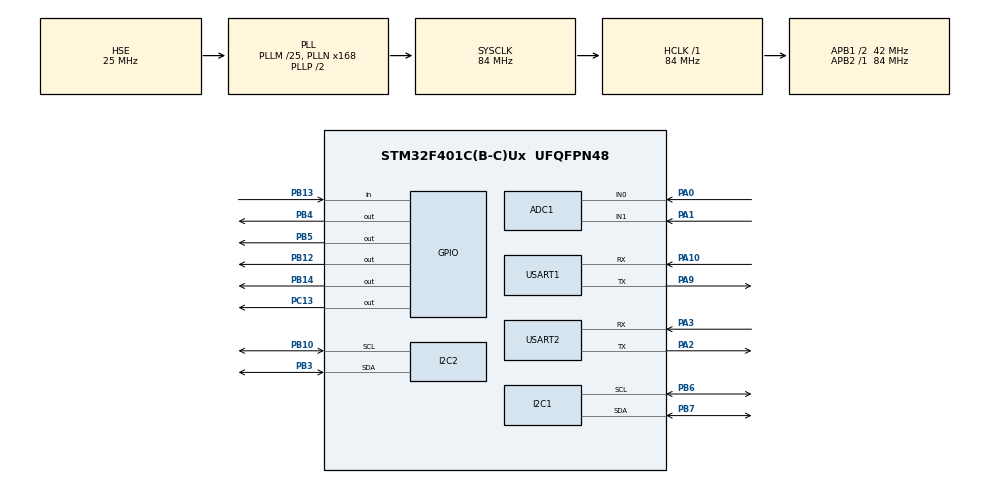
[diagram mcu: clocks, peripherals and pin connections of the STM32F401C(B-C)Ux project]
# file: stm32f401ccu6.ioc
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ADC1.Channel-0\#ChannelRegularConversion=ADC_CHANNEL_0
ADC1.NbrOfConversionFlag=1
ADC1.Rank-0\#ChannelRegularConversion=1
ADC1.SamplingTime-0\#ChannelRegularConversion=ADC_SAMPLETIME_3CYCLES
ADC1.master=1
Dma.Request0=USART2_RX
Dma.Request1=USART2_TX
Dma.USART2_RX.0.Direction=DMA_PERIPH_TO_MEMORY
Dma.USART2_RX.0.FIFOMode=DMA_FIFOMODE_DISABLE
Dma.USART2_RX.0.Instance=DMA1_Stream5
Dma.USART2_RX.0.MemDataAlignment=DMA_MDATAALIGN_BYTE
Dma.USART2_RX.0.MemInc=DMA_MINC_ENABLE
Dma.USART2_RX.0.Mode=DMA_CIRCULAR
Dma.USART2_RX.0.PeriphDataAlignment=DMA_PDATAALIGN_BYTE
Dma.USART2_RX.0.PeriphInc=DMA_PINC_DISABLE
Dma.USART2_RX.0.Priority=DMA_PRIORITY_VERY_HIGH
Dma.USART2_TX.1.Direction=DMA_MEMORY_TO_PERIPH
Dma.USART2_TX.1.FIFOMode=DMA_FIFOMODE_DISABLE
Dma.USART2_TX.1.Instance=DMA1_Stream6
Dma.USART2_TX.1.MemDataAlignment=DMA_MDATAALIGN_BYTE
Dma.USART2_TX.1.MemInc=DMA_MINC_ENABLE
Dma.USART2_TX.1.Mode=DMA_NORMAL
Dma.USART2_TX.1.PeriphDataAlignment=DMA_PDATAALIGN_BYTE
Dma.USART2_TX.1.PeriphInc=DMA_PINC_DISABLE
Dma.USART2_TX.1.Priority=DMA_PRIORITY_VERY_HIGH
FREERTOS.Tasks01=defaultTask,40,3000,StartDefaultTask,Default,NULL,Dynamic,NULL,NULL;extraTask,24,128,StartExtraTask,Default,NULL,Dynamic,NULL,NULL
I2C1.I2C_Mode=I2C_Fast
I2C2.I2C_Mode=I2C_Fast
Mcu.Family=STM32F4
Mcu.Name=STM32F401C(B-C)Ux
Mcu.Package=UFQFPN48
NVIC.DMA1_Stream5_IRQn=true\:5\:0\:false\:false\:true\:true\:false\:true\:true
NVIC.DMA1_Stream6_IRQn=true\:5\:0\:false\:false\:true\:true\:false\:true\:true
NVIC.PriorityGroup=NVIC_PRIORITYGROUP_4
NVIC.USART2_IRQn=true\:5\:0\:false\:false\:true\:true\:true\:true\:true
PA0-WKUP.Signal=ADCx_IN0
PA1.Signal=ADCx_IN1
PA10.Mode=Asynchronous
PA10.Signal=USART1_RX
PA2.Mode=Asynchronous
PA2.Signal=USART2_TX
PA3.Mode=Asynchronous
PA3.Signal=USART2_RX
PA9.Mode=Asynchronous
PA9.Signal=USART1_TX
PB10.Mode=I2C
PB10.Signal=I2C2_SCL
PB12.Signal=GPIO_Output
PB13.Signal=GPIO_Input
PB14.Signal=GPIO_Output
PB3.Mode=I2C
PB3.Signal=I2C2_SDA
PB4.Signal=GPIO_Output
PB5.Signal=GPIO_Output
PB6.Mode=I2C
PB6.Signal=I2C1_SCL
PB7.Mode=I2C
PB7.Signal=I2C1_SDA
PC13-ANTI_TAMP.Signal=GPIO_Output
PC14-OSC32_IN.Mode=LSE-External-Oscillator
PC14-OSC32_IN.Signal=RCC_OSC32_IN
PC15-OSC32_OUT.Mode=LSE-External-Oscillator
PC15-OSC32_OUT.Signal=RCC_OSC32_OUT
PH0\ -\ OSC_IN.Mode=HSE-External-Oscillator
PH0\ -\ OSC_IN.Signal=RCC_OSC_IN
PH1\ -\ OSC_OUT.Mode=HSE-External-Oscillator
PH1\ -\ OSC_OUT.Signal=RCC_OSC_OUT
ProjectManager.HeapSize=0x200
ProjectManager.StackSize=0x400
ProjectManager.TargetToolchain=STM32CubeIDE
RCC.48MHZClocksFreq_Value=42000000
RCC.AHBFreq_Value=84000000
RCC.APB1CLKDivider=RCC_HCLK_DIV2
RCC.APB1Freq_Value=42000000
RCC.APB1TimFreq_Value=84000000
RCC.APB2Freq_Value=84000000
RCC.APB2TimFreq_Value=84000000
RCC.CortexFreq_Value=84000000
RCC.HCLKFreq_Value=84000000
RCC.HSE_VALUE=25000000
RCC.HSI_VALUE=16000000
RCC.PLLM=25
RCC.PLLN=168
RCC.PLLSourceVirtual=RCC_PLLSOURCE_HSE
RCC.SYSCLKFreq_VALUE=84000000
RCC.SYSCLKSource=RCC_SYSCLKSOURCE_PLLCLK
RCC.VCOOutputFreq_Value=168000000
SH.ADCx_IN0.0=ADC1_IN0,IN0
SH.ADCx_IN1.0=ADC1_IN1,IN1
USART1.VirtualMode=VM_ASYNC
USART2.VirtualMode=VM_ASYNC
VP_FREERTOS_VS_CMSIS_V2.Mode=CMSIS_V2
board=custom

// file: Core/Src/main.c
/* USER CODE BEGIN Header */
/**
  ******************************************************************************
  * @file           : main.c
  * @brief          : Main program body
  ******************************************************************************
  * @attention
  *
  * Copyright (c) 2022 STMicroelectronics.
  * All rights reserved.
  *
  * This software is licensed under terms that can be found in the LICENSE file
  * in the root directory of this software component.
  * If no LICENSE file comes with this software, it is provided AS-IS.
  *
  ******************************************************************************
  */
/* USER CODE END Header */
#include "main.h"
#include "cmsis_os.h"

/* USER CODE BEGIN Includes */
#include <stdio.h>

#include <rcl/rcl.h>
#include <rcl/error_handling.h>
#include <rclc/rclc.h>
#include <rclc/executor.h>
#include <uxr/client/transport.h>
#include <rmw_microxrcedds_c/config.h>
#include <rmw_microros/rmw_microros.h>

#include <std_msgs/msg/int32.h>
/* USER CODE END Includes */

 ADC_HandleTypeDef hadc1;

I2C_HandleTypeDef hi2c1;
I2C_HandleTypeDef hi2c2;

UART_HandleTypeDef huart1;
UART_HandleTypeDef huart2;
DMA_HandleTypeDef hdma_usart2_rx;
DMA_HandleTypeDef hdma_usart2_tx;

/* Definitions for defaultTask */
osThreadId_t defaultTaskHandle;
const osThreadAttr_t defaultTask_attributes = {
  .name = "defaultTask",
  .stack_size = 3000 * 4,
  .priority = (osPriority_t) osPriorityHigh,
};
/* Definitions for extraTask */
osThreadId_t extraTaskHandle;
const osThreadAttr_t extraTask_attributes = {
  .name = "extraTask",
  .stack_size = 128 * 4,
  .priority = (osPriority_t) osPriorityNormal,
};

void SystemClock_Config(void);
static void MX_GPIO_Init(void);
static void MX_DMA_Init(void);
static void MX_I2C1_Init(void);
static void MX_I2C2_Init(void);
static void MX_USART1_UART_Init(void);
static void MX_USART2_UART_Init(void);
static void MX_ADC1_Init(void);
void StartDefaultTask(void *argument);
void StartExtraTask(void *argument);

/* USER CODE BEGIN 0 */
#ifdef __GNUC__
int __io_putchar(int ch)
{
   HAL_UART_Transmit(&huart1, (uint8_t *) &ch, 1, 0xFFFF);
   return ch;
}

// void __sync_synchronize()
// {
// }
#else
#endif
/* USER CODE END 0 */

int main(void)
{

  /* MCU Configuration--------------------------------------------------------*/

  /* Reset of all peripherals, Initializes the Flash interface and the Systick. */
  HAL_Init();

  /* Configure the system clock */
  SystemClock_Config();

  /* Initialize all configured peripherals */
  MX_GPIO_Init();
  MX_DMA_Init();
  MX_I2C1_Init();
  MX_I2C2_Init();
  MX_USART1_UART_Init();
  MX_USART2_UART_Init();
  MX_ADC1_Init();
  /* USER CODE BEGIN 2 */
   printf("=============================================== \r\n");
   printf("Build Date   : %s %s (%s) \r\n", __DATE__, __TIME__, __VERSION__);
   printf("System Clock : %d \r\n", (int) SystemCoreClock);
   printf("VERSION      : %x.%x \r\n", (int) FIRMWARE_MAJOR_VERSION, (int) FIRMWARE_MINOR_VERSION);
   printf("float        : %f \r\n", 3.142592);
   printf("=============================================== \r\n\r\n");
  /* USER CODE END 2 */

  /* Init scheduler */
  osKernelInitialize();

  /* Create the thread(s) */
  /* creation of defaultTask */
  defaultTaskHandle = osThreadNew(StartDefaultTask, NULL, &defaultTask_attributes);

  /* creation of extraTask */
  extraTaskHandle = osThreadNew(StartExtraTask, NULL, &extraTask_attributes);

  /* Start scheduler */
  osKernelStart();

  /* We should never get here as control is now taken by the scheduler */
  /* Infinite loop */
  while (1)
  {

  }
}

void SystemClock_Config(void)
{
  RCC_OscInitTypeDef RCC_OscInitStruct = {0};
  RCC_ClkInitTypeDef RCC_ClkInitStruct = {0};

  /** Configure the main internal regulator output voltage
  */
  __HAL_RCC_PWR_CLK_ENABLE();
  __HAL_PWR_VOLTAGESCALING_CONFIG(PWR_REGULATOR_VOLTAGE_SCALE2);

  /** Initializes the RCC Oscillators according to the specified parameters
  * in the RCC_OscInitTypeDef structure.
  */
  RCC_OscInitStruct.OscillatorType = RCC_OSCILLATORTYPE_HSE;
  RCC_OscInitStruct.HSEState = RCC_HSE_ON;
  RCC_OscInitStruct.PLL.PLLState = RCC_PLL_ON;
  RCC_OscInitStruct.PLL.PLLSource = RCC_PLLSOURCE_HSE;
  RCC_OscInitStruct.PLL.PLLM = 25;
  RCC_OscInitStruct.PLL.PLLN = 168;
  RCC_OscInitStruct.PLL.PLLP = RCC_PLLP_DIV2;
  RCC_OscInitStruct.PLL.PLLQ = 4;
  if (HAL_RCC_OscConfig(&RCC_OscInitStruct) != HAL_OK)
  {
    Error_Handler();
  }

  /** Initializes the CPU, AHB and APB buses clocks
  */
  RCC_ClkInitStruct.ClockType = RCC_CLOCKTYPE_HCLK|RCC_CLOCKTYPE_SYSCLK
                              |RCC_CLOCKTYPE_PCLK1|RCC_CLOCKTYPE_PCLK2;
  RCC_ClkInitStruct.SYSCLKSource = RCC_SYSCLKSOURCE_PLLCLK;
  RCC_ClkInitStruct.AHBCLKDivider = RCC_SYSCLK_DIV1;
  RCC_ClkInitStruct.APB1CLKDivider = RCC_HCLK_DIV2;
  RCC_ClkInitStruct.APB2CLKDivider = RCC_HCLK_DIV1;

  if (HAL_RCC_ClockConfig(&RCC_ClkInitStruct, FLASH_LATENCY_2) != HAL_OK)
  {
    Error_Handler();
  }
}

static void MX_ADC1_Init(void)
{

  ADC_ChannelConfTypeDef sConfig = {0};

  /** Configure the global features of the ADC (Clock, Resolution, Data Alignment and number of conversion)
  */
  hadc1.Instance = ADC1;
  hadc1.Init.ClockPrescaler = ADC_CLOCK_SYNC_PCLK_DIV4;
  hadc1.Init.Resolution = ADC_RESOLUTION_12B;
  hadc1.Init.ScanConvMode = DISABLE;
  hadc1.Init.ContinuousConvMode = DISABLE;
  hadc1.Init.DiscontinuousConvMode = DISABLE;
  hadc1.Init.ExternalTrigConvEdge = ADC_EXTERNALTRIGCONVEDGE_NONE;
  hadc1.Init.ExternalTrigConv = ADC_SOFTWARE_START;
  hadc1.Init.DataAlign = ADC_DATAALIGN_RIGHT;
  hadc1.Init.NbrOfConversion = 1;
  hadc1.Init.DMAContinuousRequests = DISABLE;
  hadc1.Init.EOCSelection = ADC_EOC_SINGLE_CONV;
  if (HAL_ADC_Init(&hadc1) != HAL_OK)
  {
    Error_Handler();
  }

  /** Configure for the selected ADC regular channel its corresponding rank in the sequencer and its sample time.
  */
  sConfig.Channel = ADC_CHANNEL_0;
  sConfig.Rank = 1;
  sConfig.SamplingTime = ADC_SAMPLETIME_3CYCLES;
  if (HAL_ADC_ConfigChannel(&hadc1, &sConfig) != HAL_OK)
  {
    Error_Handler();
  }

}

static void MX_I2C1_Init(void)
{

  hi2c1.Instance = I2C1;
  hi2c1.Init.ClockSpeed = 400000;
  hi2c1.Init.DutyCycle = I2C_DUTYCYCLE_2;
  hi2c1.Init.OwnAddress1 = 0;
  hi2c1.Init.AddressingMode = I2C_ADDRESSINGMODE_7BIT;
  hi2c1.Init.DualAddressMode = I2C_DUALADDRESS_DISABLE;
  hi2c1.Init.OwnAddress2 = 0;
  hi2c1.Init.GeneralCallMode = I2C_GENERALCALL_DISABLE;
  hi2c1.Init.NoStretchMode = I2C_NOSTRETCH_DISABLE;
  if (HAL_I2C_Init(&hi2c1) != HAL_OK)
  {
    Error_Handler();
  }

}

static void MX_I2C2_Init(void)
{

  hi2c2.Instance = I2C2;
  hi2c2.Init.ClockSpeed = 400000;
  hi2c2.Init.DutyCycle = I2C_DUTYCYCLE_2;
  hi2c2.Init.OwnAddress1 = 0;
  hi2c2.Init.AddressingMode = I2C_ADDRESSINGMODE_7BIT;
  hi2c2.Init.DualAddressMode = I2C_DUALADDRESS_DISABLE;
  hi2c2.Init.OwnAddress2 = 0;
  hi2c2.Init.GeneralCallMode = I2C_GENERALCALL_DISABLE;
  hi2c2.Init.NoStretchMode = I2C_NOSTRETCH_DISABLE;
  if (HAL_I2C_Init(&hi2c2) != HAL_OK)
  {
    Error_Handler();
  }

}

static void MX_USART1_UART_Init(void)
{

  huart1.Instance = USART1;
  huart1.Init.BaudRate = 115200;
  huart1.Init.WordLength = UART_WORDLENGTH_8B;
  huart1.Init.StopBits = UART_STOPBITS_1;
  huart1.Init.Parity = UART_PARITY_NONE;
  huart1.Init.Mode = UART_MODE_TX_RX;
  huart1.Init.HwFlowCtl = UART_HWCONTROL_NONE;
  huart1.Init.OverSampling = UART_OVERSAMPLING_16;
  if (HAL_UART_Init(&huart1) != HAL_OK)
  {
    Error_Handler();
  }

}

static void MX_USART2_UART_Init(void)
{

  huart2.Instance = USART2;
  huart2.Init.BaudRate = 115200;
  huart2.Init.WordLength = UART_WORDLENGTH_8B;
  huart2.Init.StopBits = UART_STOPBITS_1;
  huart2.Init.Parity = UART_PARITY_NONE;
  huart2.Init.Mode = UART_MODE_TX_RX;
  huart2.Init.HwFlowCtl = UART_HWCONTROL_NONE;
  huart2.Init.OverSampling = UART_OVERSAMPLING_16;
  if (HAL_UART_Init(&huart2) != HAL_OK)
  {
    Error_Handler();
  }

}

static void MX_DMA_Init(void)
{

  /* DMA controller clock enable */
  __HAL_RCC_DMA1_CLK_ENABLE();

  /* DMA interrupt init */
  /* DMA1_Stream5_IRQn interrupt configuration */
  HAL_NVIC_SetPriority(DMA1_Stream5_IRQn, 5, 0);
  HAL_NVIC_EnableIRQ(DMA1_Stream5_IRQn);
  /* DMA1_Stream6_IRQn interrupt configuration */
  HAL_NVIC_SetPriority(DMA1_Stream6_IRQn, 5, 0);
  HAL_NVIC_EnableIRQ(DMA1_Stream6_IRQn);

}

static void MX_GPIO_Init(void)
{
  GPIO_InitTypeDef GPIO_InitStruct = {0};

  /* GPIO Ports Clock Enable */
  __HAL_RCC_GPIOC_CLK_ENABLE();
  __HAL_RCC_GPIOH_CLK_ENABLE();
  __HAL_RCC_GPIOA_CLK_ENABLE();
  __HAL_RCC_GPIOB_CLK_ENABLE();

  /*Configure GPIO pin Output Level */
  HAL_GPIO_WritePin(GPIOC, GPIO_PIN_13, GPIO_PIN_RESET);

  /*Configure GPIO pin Output Level */
  HAL_GPIO_WritePin(GPIOB, GPIO_PIN_12|GPIO_PIN_14|GPIO_PIN_4|GPIO_PIN_5, GPIO_PIN_RESET);

  /*Configure GPIO pin : PC13 */
  GPIO_InitStruct.Pin = GPIO_PIN_13;
  GPIO_InitStruct.Mode = GPIO_MODE_OUTPUT_PP;
  GPIO_InitStruct.Pull = GPIO_NOPULL;
  GPIO_InitStruct.Speed = GPIO_SPEED_FREQ_LOW;
  HAL_GPIO_Init(GPIOC, &GPIO_InitStruct);

  /*Configure GPIO pins : PB12 PB14 PB4 PB5 */
  GPIO_InitStruct.Pin = GPIO_PIN_12|GPIO_PIN_14|GPIO_PIN_4|GPIO_PIN_5;
  GPIO_InitStruct.Mode = GPIO_MODE_OUTPUT_PP;
  GPIO_InitStruct.Pull = GPIO_NOPULL;
  GPIO_InitStruct.Speed = GPIO_SPEED_FREQ_LOW;
  HAL_GPIO_Init(GPIOB, &GPIO_InitStruct);

  /*Configure GPIO pin : PB13 */
  GPIO_InitStruct.Pin = GPIO_PIN_13;
  GPIO_InitStruct.Mode = GPIO_MODE_INPUT;
  GPIO_InitStruct.Pull = GPIO_NOPULL;
  HAL_GPIO_Init(GPIOB, &GPIO_InitStruct);

}

/* USER CODE BEGIN Header_StartDefaultTask */
/**
  * @brief  Function implementing the defaultTask thread.
  * @param  argument: Not used
  * @retval None
  */
bool cubemx_transport_open(struct uxrCustomTransport * transport);
bool cubemx_transport_close(struct uxrCustomTransport * transport);
size_t cubemx_transport_write(struct uxrCustomTransport* transport, const uint8_t * buf, size_t len, uint8_t * err);
size_t cubemx_transport_read(struct uxrCustomTransport* transport, uint8_t* buf, size_t len, int timeout, uint8_t* err);

void * microros_allocate(size_t size, void * state);
void microros_deallocate(void * pointer, void * state);
void * microros_reallocate(void * pointer, size_t size, void * state);
void * microros_zero_allocate(size_t number_of_elements, size_t size_of_element, void * state);
/* USER CODE END Header_StartDefaultTask */
void StartDefaultTask(void *argument)
{
  /* USER CODE BEGIN 5 */
  /* Infinite loop */

   printf("before ... \r\n");
   rmw_uros_set_custom_transport(true, (void *) &huart2, cubemx_transport_open, cubemx_transport_close, cubemx_transport_write, cubemx_transport_read);
   printf("after ... \r\n");

   rcl_allocator_t freeRTOS_allocator = rcutils_get_zero_initialized_allocator();
   freeRTOS_allocator.allocate = microros_allocate;
   freeRTOS_allocator.deallocate = microros_deallocate;
   freeRTOS_allocator.reallocate = microros_reallocate;
   freeRTOS_allocator.zero_allocate =  microros_zero_allocate;

   if (!rcutils_set_default_allocator(&freeRTOS_allocator))
   {
      printf("Error on default allocators (line %d)\n", __LINE__);
   }

   // micro-ROS app
   rcl_publisher_t publisher;
   std_msgs__msg__Int32 msg;
   rclc_support_t support;
   rcl_allocator_t allocator;
   rcl_node_t node;

   allocator = rcl_get_default_allocator();

   //create init_options
   rclc_support_init(&support, 0, NULL, &allocator);

   // create node
   rclc_node_init_default(&node, "cubemx_node", "", &support);

   // create publisher
   rclc_publisher_init_default(&publisher, &node, ROSIDL_GET_MSG_TYPE_SUPPORT(std_msgs, msg, Int32), "cubemx_publisher");
   msg.data = 0;

   /* Infinite loop */
   for(;;)
   {
      rcl_ret_t ret = rcl_publish(&publisher, &msg, NULL);
      if (ret != RCL_RET_OK)
      {
         printf("Error publishing (line %d) \r\n", __LINE__);
      }

      msg.data++;
      osDelay(10);
   }
  /* USER CODE END 5 */
}

void StartExtraTask(void *argument)
{
  /* USER CODE BEGIN StartExtraTask */
   /* Infinite loop */
   for(;;)
   {
      HAL_GPIO_TogglePin(GPIOC, GPIO_PIN_13);
      osDelay(100);
   }
  /* USER CODE END StartExtraTask */
}

void Error_Handler(void)
{
  __disable_irq();
  while (1)
  {
  }
}
